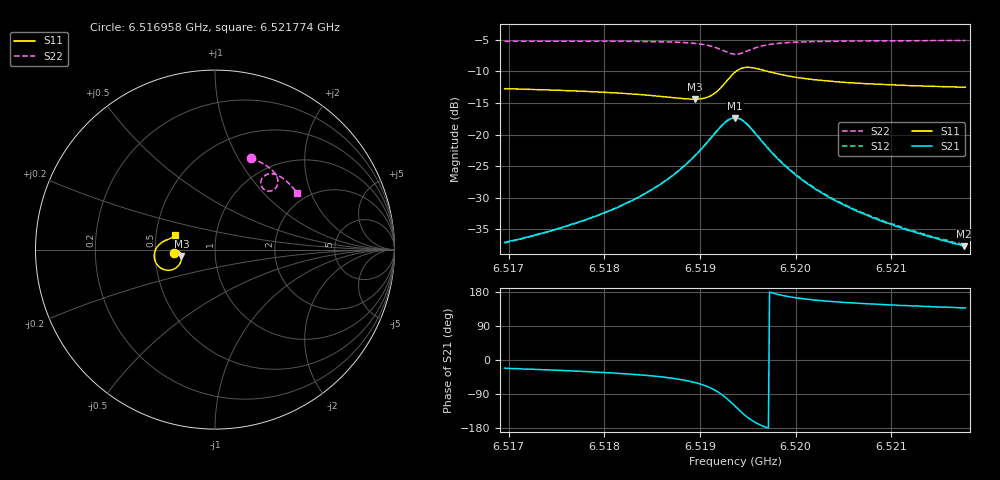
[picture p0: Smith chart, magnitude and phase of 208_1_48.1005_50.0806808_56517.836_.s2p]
#  HZ  S  RI  R  50.00
! Rohde & Schwarz Vector Network Analyzer
! Rohde-Schwarz,ZNB20-2Port,1311601062101988,3.16
! Created: UTC 12/23/2023, 3:55:27 AM
! freq[Hz]  re:S11  im:S11  re:S21  im:S21  re:S12  im:S12  re:S22  im:S22
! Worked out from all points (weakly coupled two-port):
!   401 points, 6.516958 GHz to 6.521774 GHz, reference 50 ohm
!   highest |S21| = -17.34 dB at 6.519366 GHz (marker M1); lowest = -37.6 dB at 6.521762 GHz (marker M2)
!   lowest |S11| = -14.4 dB at 6.518945 GHz (marker M3), VSWR 1.47, Z = 34.1 - j2.5 ohm
!   |S11| at or under -10 dB: start of sweep to 6.519375 GHz; 6.51971 GHz to end of sweep
!   |S22| runs from -7.3 to -5.1 dB; largest |S21 - S12| = 0.0042
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6.5169581e9  -0.2305 -0.0179  0.0131 -0.00514  0.0131 -0.00477  0.2003 0.5104
6.5173915e9  -0.2258 -0.0117  0.0152 -0.00748  0.0154 -0.0069  0.2322 0.497
6.5177647e9  -0.2205 -0.00717  0.018 -0.0103  0.0182 -0.00976  0.2598 0.4832
6.518162e9  -0.2128 -0.00498  0.022 -0.0158  0.0226 -0.0151  0.2896 0.4649
6.5185713e9  -0.2012 -0.00934  0.0287 -0.0276  0.0297 -0.0267  0.3213 0.4391
6.5187639e9  -0.1939 -0.0178  0.0326 -0.0389  0.0339 -0.0381  0.336 0.4212
6.5189445e9  -0.1874 -0.0353  0.0347 -0.0581  0.0367 -0.0572  0.3477 0.3967
6.5190529e9  -0.1871 -0.0544  0.0316 -0.0765  0.0342 -0.0762  0.3507 0.3757
6.5191372e9  -0.194 -0.0756  0.0222 -0.0959  0.0252 -0.0959  0.346 0.3555
6.5192696e9  -0.2359 -0.1114  -0.0207 -0.1242  -0.0171 -0.1258  0.3137 0.3273
6.5193659e9  -0.2929 -0.1079  -0.0715 -0.1154  -0.0687 -0.1185  0.2747 0.3342
6.5194141e9  -0.3176 -0.0896  -0.0916 -0.0968  -0.0896 -0.1003  0.2607 0.3498
6.5194743e9  -0.3352 -0.0586  -0.1039 -0.0681  -0.1028 -0.0716  0.2553 0.3736
6.5195826e9  -0.3345 -0.00885  -0.0979 -0.0254  -0.098 -0.0285  0.2696 0.4061
6.519691e9  -0.3183 0.0204  -0.0807 -0.00324  -0.0813 -0.00557  0.2924 0.4198
6.5199317e9  -0.2867 0.0457  -0.0516 0.0118  -0.0525 0.0105  0.3328 0.4198
6.5201725e9  -0.2678 0.0544  -0.036 0.0138  -0.0368 0.0129  0.36 0.4085
6.5205819e9  -0.2495 0.062  -0.0227 0.0127  -0.0234 0.0121  0.393 0.3855
6.5209791e9  -0.2386 0.0679  -0.0162 0.0113  -0.0167 0.0109  0.4182 0.3619
6.5214366e9  -0.2294 0.0742  -0.0118 0.00981  -0.0123 0.00943  0.4432 0.3342
6.5217617e9  -0.2237 0.0785  -0.00964 0.00888  -0.0101 0.00882  0.459 0.3142
6.5217737e9  -0.2237 0.0787  -0.00973 0.00887  -0.0101 0.00877  0.4596 0.3133
